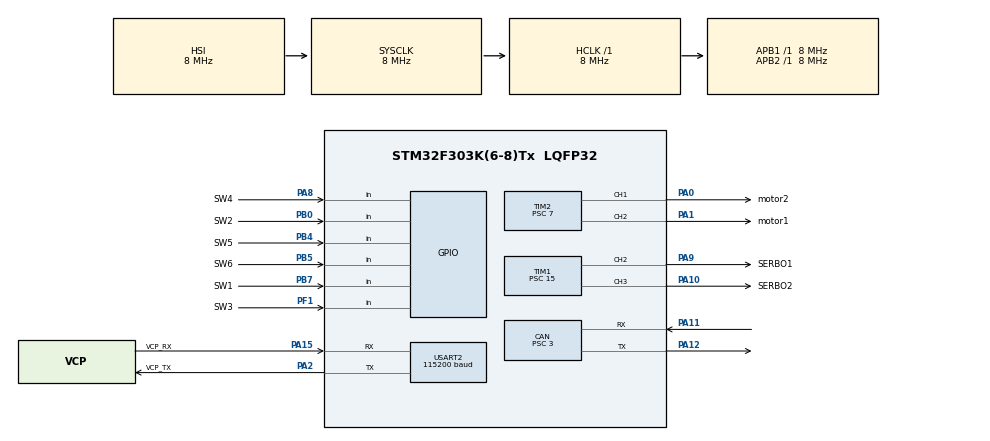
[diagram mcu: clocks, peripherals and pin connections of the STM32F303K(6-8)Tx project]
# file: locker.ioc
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CAN.BS1=CAN_BS1_15TQ
CAN.BS2=CAN_BS2_4TQ
CAN.CalculateBaudRate=133333
CAN.CalculateTimeBit=7500
CAN.CalculateTimeQuantum=375.0
CAN.Prescaler=3
Mcu.Family=STM32F3
Mcu.Name=STM32F303K(6-8)Tx
Mcu.Package=LQFP32
NVIC.CAN_RX0_IRQn=true\:0\:0\:false\:false\:true\:true\:true\:true
NVIC.PriorityGroup=NVIC_PRIORITYGROUP_4
NVIC.TIM6_DAC1_IRQn=true\:1\:0\:true\:false\:true\:true\:true\:true
PA0.GPIO_Label=motor2
PA0.Signal=S_TIM2_CH1_ETR
PA1.GPIO_Label=motor1
PA1.Signal=S_TIM2_CH2
PA10.GPIO_Label=SERBO2
PA10.Signal=S_TIM1_CH3
PA11.Mode=CAN_Activate
PA11.Signal=CAN_RX
PA12.Mode=CAN_Activate
PA12.Signal=CAN_TX
PA13.GPIO_Label=SWDIO
PA13.Mode=Serial_Wire
PA13.Signal=SYS_JTMS-SWDIO
PA14.GPIO_Label=SWCLK
PA14.Mode=Serial_Wire
PA14.Signal=SYS_JTCK-SWCLK
PA15.GPIO_Label=VCP_RX
PA15.Mode=Asynchronous
PA15.Signal=USART2_RX
PA2.GPIO_Label=VCP_TX
PA2.Mode=Asynchronous
PA2.Signal=USART2_TX
PA8.GPIO_Label=SW4
PA8.Signal=GPIO_Input
PA9.GPIO_Label=SERBO1
PA9.Signal=S_TIM1_CH2
PB0.GPIO_Label=SW2
PB0.Signal=GPIO_Input
PB4.GPIO_Label=SW5
PB4.Signal=GPIO_Input
PB5.GPIO_Label=SW6
PB5.Signal=GPIO_Input
PB7.GPIO_Label=SW1
PB7.Signal=GPIO_Input
PF0\ /\ OSC_IN.GPIO_Label=MCO
PF0\ /\ OSC_IN.Mode=HSE-External-Clock-Source
PF0\ /\ OSC_IN.Signal=RCC_OSC_IN
PF1\ /\ OSC_OUT.GPIO_Label=SW3
PF1\ /\ OSC_OUT.Signal=GPIO_Input
ProjectManager.HeapSize=0x200
ProjectManager.StackSize=0x400
ProjectManager.TargetToolchain=STM32CubeIDE
RCC.AHBFreq_Value=8000000
RCC.APB1Freq_Value=8000000
RCC.APB2Freq_Value=8000000
RCC.CortexFreq_Value=8000000
RCC.HSE_VALUE=8000000
RCC.HSI_VALUE=8000000
RCC.SYSCLKFreq_VALUE=8000000
SH.S_TIM1_CH2.0=TIM1_CH2,PWM Generation2 CH2
SH.S_TIM1_CH3.0=TIM1_CH3,PWM Generation3 CH3
SH.S_TIM2_CH1_ETR.0=TIM2_CH1,PWM Generation1 CH1
SH.S_TIM2_CH2.0=TIM2_CH2,PWM Generation2 CH2
TIM1.Channel-PWM\ Generation2\ CH2=TIM_CHANNEL_2
TIM1.Channel-PWM\ Generation3\ CH3=TIM_CHANNEL_3
TIM1.Period=9999
TIM1.Prescaler=15
TIM2.Channel-PWM\ Generation1\ CH1=TIM_CHANNEL_1
TIM2.Channel-PWM\ Generation2\ CH2=TIM_CHANNEL_2
TIM2.Period=999
TIM2.Prescaler=7
TIM6.Period=19
TIM6.Prescaler=7999
USART2.BaudRate=115200
USART2.VirtualMode-Asynchronous=VM_ASYNC
VP_TIM16_VS_ClockSourceINT.Mode=Enable_Timer
VP_TIM6_VS_ClockSourceINT.Mode=Enable_Timer
board=NUCLEO-F303K8

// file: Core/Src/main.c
/* USER CODE BEGIN Header */
/**
  ******************************************************************************
  * @file           : main.c
  * @brief          : Main program body
  ******************************************************************************
  * @attention
  *
  * Copyright (c) 2024 STMicroelectronics.
  * All rights reserved.
  *
  * This software is licensed under terms that can be found in the LICENSE file
  * in the root directory of this software component.
  * If no LICENSE file comes with this software, it is provided AS-IS.
  *
  ******************************************************************************
  */
/* USER CODE END Header */
#include "main.h"

/* USER CODE BEGIN Includes */
#include <stdbool.h>
#include <can.h>
#include <stdio.h>
/* USER CODE END Includes */

/* USER CODE BEGIN PTD */
enum state{
	state_wait,
	state_free,
  state_move_chair,
  state_hold_chair,
  state_move_desk,
  state_catch_desk,
  state_hold_desk,
  state_unknown
};

enum motor_command{
  command_free,
  command_cw,
  command_ccw,
  command_brake
};

typedef struct{
	bool button;
  bool timeout;
}Error;

typedef struct{
  bool free[2];
  bool chair[2];
  bool desk[2];
} Button;
/* USER CODE END PTD */

/* USER CODE BEGIN PD */
#define CHAIR_TIMEOUT_MS 1000
#define DESK_TIMEOUT_MS 3000
#define MOTOR_DUTY 200 //(MAX:999)
/* USER CODE END PD */

CAN_HandleTypeDef hcan;

TIM_HandleTypeDef htim1;
TIM_HandleTypeDef htim2;
TIM_HandleTypeDef htim6;
TIM_HandleTypeDef htim16;

UART_HandleTypeDef huart2;

void SystemClock_Config(void);
static void MX_GPIO_Init(void);
static void MX_USART2_UART_Init(void);
static void MX_TIM1_Init(void);
static void MX_TIM2_Init(void);
static void MX_TIM6_Init(void);
static void MX_TIM16_Init(void);
static void MX_CAN_Init(void);
/* USER CODE BEGIN PFP */

Button getButton(void);
enum state stateCheck(Button, Error*);

/* USER CODE END PFP */

/* USER CODE BEGIN 0 */

bool g_main_loop_flag = false;

void HAL_TIM_PeriodElapsedCallback(TIM_HandleTypeDef *htim)
{
	if(htim == &htim6)
	{
		//mainloop
		if(g_main_loop_flag){
			printf("Control cycle is slow\r\n");
		}
		g_main_loop_flag = true;
		sendCanData();
	}
}

bool isNoError(Error e){
	return (e.button==false) && (e.timeout==false);
}

Button getButton(void){
  Button b;
  b.free[0] = HAL_GPIO_ReadPin(SW1_GPIO_Port, SW1_Pin);
  b.free[1] = HAL_GPIO_ReadPin(SW2_GPIO_Port, SW2_Pin);
  b.chair[0] = HAL_GPIO_ReadPin(SW3_GPIO_Port, SW3_Pin);
  b.chair[1] = HAL_GPIO_ReadPin(SW4_GPIO_Port, SW4_Pin);
  b.desk[0] = HAL_GPIO_ReadPin(SW5_GPIO_Port, SW5_Pin);
  b.desk[1] = HAL_GPIO_ReadPin(SW6_GPIO_Port, SW6_Pin);
  return b;
}

enum state stateCheck(Button sw, Error* e){
  enum state s[3];
  static enum state prev_state = state_unknown;
  for(int i=0;i<=1;i++){
    // desk & free
    if(sw.desk[i] && !sw.free[i] && !sw.chair[i] ){
      s[i] = state_hold_desk;
    }
    // desk
    else if(sw.desk[i] && !sw.free[i] && !sw.chair[i] ){
      s[i] = state_catch_desk;
    }
    // nan
    else if(!sw.desk[i] && !sw.free[i] && !sw.chair[i] ){
      s[i] = state_move_desk;
    }
    // free
    else if(!sw.desk[i] && !sw.free[i] && !sw.chair[i] ){
      s[i] = state_hold_chair;
    }
    // chair
    else if(!sw.desk[i] && !sw.free[i] && sw.chair[i] ){
      s[i] = state_move_chair;
    }
    // free & chair
    else if(!sw.desk[i] && sw.free[i] && sw.chair[i] ){
      s[i] = state_free;
    }
    else {
      s[i] = state_unknown;
      e->button = true;
    }
  }

  // stateの時間確認用タイマー
  uint32_t time = htim16.Instance->CNT;

  //ボタンの左右差の確認
  static size_t start_state_switch_time = 0;
  if(s[0]==s[1]){
    s[2]=s[0];
    start_state_switch_time = time;
  }
  else{
    if(time - start_state_switch_time > 100){
      e->button = true;
    }
  }

  // state のタイムアウト確認
  if(s[2] == state_move_chair && time > CHAIR_TIMEOUT_MS){
    e->timeout = true;
  }
  if(s[2] == state_move_desk && time > DESK_TIMEOUT_MS){
    e->timeout = true;
  }

  // stateのタイマーリセット
  if(s[2] != prev_state){
    htim16.Instance->CNT = 0;
  }
  prev_state = s[2];
  return s[2];
}

/* USER CODE END 0 */

int main(void)
{

  /* USER CODE BEGIN 1 */
	setbuf(stdout, NULL);
  /* USER CODE END 1 */

  /* MCU Configuration--------------------------------------------------------*/

  /* Reset of all peripherals, Initializes the Flash interface and the Systick. */
  HAL_Init();

  /* Configure the system clock */
  SystemClock_Config();

  /* Initialize all configured peripherals */
  MX_GPIO_Init();
  MX_USART2_UART_Init();
  MX_TIM1_Init();
  MX_TIM2_Init();
  MX_TIM6_Init();
  MX_TIM16_Init();
  MX_CAN_Init();
  /* USER CODE BEGIN 2 */
  HAL_Delay(1000);
  enum state state = state_wait;
  Error error = {0};
  canInit(&hcan);
  bool can_wait = true;
  size_t can_timeout_cnt = 0;

  //timerスタート
	HAL_TIM_Base_Start_IT(&htim16);
	HAL_TIM_PWM_Start(&htim1, TIM_CHANNEL_2);
	HAL_TIM_PWM_Start(&htim1, TIM_CHANNEL_3);
	HAL_TIM_PWM_Start(&htim2, TIM_CHANNEL_1);
	HAL_TIM_PWM_Start(&htim2, TIM_CHANNEL_2);
	HAL_TIM_Base_Start_IT(&htim6);
	//HAL_TIM_Base_Start_IT(&htim7);

  /* USER CODE END 2 */

  /* Infinite loop */
  /* USER CODE BEGIN WHILE */
  while (1)
  {
	//mainloop wait
	while(g_main_loop_flag == false){}
    bool servo_lock = false;
    bool servo_mode = false; //0:chair

    //センサーデータ収集
    LockerResult result;
    enum motor_command motor_command = command_free;
    Button button = getButton();
    state = stateCheck(button,&error);
    result.state = state;

    //can送信
    setCanData(&result);

    if (can_wait == true) {
    	if (isCanUpdated()) {
			can_timeout_cnt = 0;
			can_wait = false;
			canInit(&hcan);
		}
    	else{
			printf("can init");
			canInit(&hcan);
    	}
	} else {
			// CAN受信
			CanCommand command;
			if (isCanUpdated() == false){
				can_timeout_cnt++;
			}
			else{
				can_timeout_cnt = 0;
			}
			getCanData(&command);

			if(can_timeout_cnt > 5){
				can_wait = true;
			}
			printf("mode : %d,pull : %d,release : %d,state:%d,sw:%d%d,%d%d,%d%d\r\n",command.mode,command.pull,command.release,state,button.chair[0],button.chair[1],
		    		button.desk[0],button.desk[1],button.free[0],button.free[1]);
			//アーム制御
			//無効なコマンド　（pull&release または 机保持中に椅子保持指令　または、椅子保持中に机保持）
			if (command.pull == command.release
					|| (command.mode == false && state == state_hold_desk)
					|| (command.mode == true && state == state_hold_chair)) {
				motor_command = command_free;
			} else if (command.pull == true) {
				enum state target_state =
						command.mode ? state_catch_desk : state_move_desk;
				if (state != target_state) {
					motor_command = command_cw;
				} else {
					motor_command = command_free;
					servo_lock = true;
				}
			} else if (command.release == true) {
				// 椅子や机を保持している場合は少し引いてからロック解除
				static size_t cnt = 0;
				if (state == state_hold_desk || state == state_hold_chair){
					motor_command = command_cw;
					if(cnt++ < 10) {
						servo_lock = true;
					}
				}else cnt = 0;
				if (state != state_free) {
					motor_command = command_ccw;
				}
			}

			// モーター制御
			switch (motor_command) {
			case command_free:
				__HAL_TIM_SET_COMPARE(&htim2, TIM_CHANNEL_1, 0);
				__HAL_TIM_SET_COMPARE(&htim2, TIM_CHANNEL_2, 0);
				break;
			case command_cw:
				__HAL_TIM_SET_COMPARE(&htim2, TIM_CHANNEL_1, 0);
				__HAL_TIM_SET_COMPARE(&htim2, TIM_CHANNEL_2, MOTOR_DUTY);
				break;
			case command_ccw:
				__HAL_TIM_SET_COMPARE(&htim2, TIM_CHANNEL_1, MOTOR_DUTY);
				__HAL_TIM_SET_COMPARE(&htim2, TIM_CHANNEL_2, 0);
				break;
			case command_brake:
				__HAL_TIM_SET_COMPARE(&htim2, TIM_CHANNEL_1, 999);
				__HAL_TIM_SET_COMPARE(&htim2, TIM_CHANNEL_2, 999);
				break;
			}
			//サーボ制御
			if (servo_lock == true) {
				if (servo_mode == false) {
					__HAL_TIM_SET_COMPARE(&htim1, TIM_CHANNEL_2, 1200);
					__HAL_TIM_SET_COMPARE(&htim1, TIM_CHANNEL_3, 250);
				} else {
					__HAL_TIM_SET_COMPARE(&htim1, TIM_CHANNEL_2, 250);
					__HAL_TIM_SET_COMPARE(&htim1, TIM_CHANNEL_3, 1200);
				}
			}
		}

    g_main_loop_flag = false;
    /* USER CODE END WHILE */

  }
}

void SystemClock_Config(void)
{
  RCC_OscInitTypeDef RCC_OscInitStruct = {0};
  RCC_ClkInitTypeDef RCC_ClkInitStruct = {0};
  RCC_PeriphCLKInitTypeDef PeriphClkInit = {0};

  /** Initializes the RCC Oscillators according to the specified parameters
  * in the RCC_OscInitTypeDef structure.
  */
  RCC_OscInitStruct.OscillatorType = RCC_OSCILLATORTYPE_HSI;
  RCC_OscInitStruct.HSIState = RCC_HSI_ON;
  RCC_OscInitStruct.HSICalibrationValue = RCC_HSICALIBRATION_DEFAULT;
  RCC_OscInitStruct.PLL.PLLState = RCC_PLL_NONE;
  if (HAL_RCC_OscConfig(&RCC_OscInitStruct) != HAL_OK)
  {
    Error_Handler();
  }

  /** Initializes the CPU, AHB and APB buses clocks
  */
  RCC_ClkInitStruct.ClockType = RCC_CLOCKTYPE_HCLK|RCC_CLOCKTYPE_SYSCLK
                              |RCC_CLOCKTYPE_PCLK1|RCC_CLOCKTYPE_PCLK2;
  RCC_ClkInitStruct.SYSCLKSource = RCC_SYSCLKSOURCE_HSI;
  RCC_ClkInitStruct.AHBCLKDivider = RCC_SYSCLK_DIV1;
  RCC_ClkInitStruct.APB1CLKDivider = RCC_HCLK_DIV1;
  RCC_ClkInitStruct.APB2CLKDivider = RCC_HCLK_DIV1;

  if (HAL_RCC_ClockConfig(&RCC_ClkInitStruct, FLASH_LATENCY_0) != HAL_OK)
  {
    Error_Handler();
  }
  PeriphClkInit.PeriphClockSelection = RCC_PERIPHCLK_TIM1;
  PeriphClkInit.Tim1ClockSelection = RCC_TIM1CLK_HCLK;
  if (HAL_RCCEx_PeriphCLKConfig(&PeriphClkInit) != HAL_OK)
  {
    Error_Handler();
  }
}

static void MX_CAN_Init(void)
{

  hcan.Instance = CAN;
  hcan.Init.Prescaler = 3;
  hcan.Init.Mode = CAN_MODE_NORMAL;
  hcan.Init.SyncJumpWidth = CAN_SJW_1TQ;
  hcan.Init.TimeSeg1 = CAN_BS1_15TQ;
  hcan.Init.TimeSeg2 = CAN_BS2_4TQ;
  hcan.Init.TimeTriggeredMode = DISABLE;
  hcan.Init.AutoBusOff = DISABLE;
  hcan.Init.AutoWakeUp = DISABLE;
  hcan.Init.AutoRetransmission = DISABLE;
  hcan.Init.ReceiveFifoLocked = DISABLE;
  hcan.Init.TransmitFifoPriority = DISABLE;
  if (HAL_CAN_Init(&hcan) != HAL_OK)
  {
    Error_Handler();
  }

}

static void MX_TIM1_Init(void)
{

  TIM_MasterConfigTypeDef sMasterConfig = {0};
  TIM_OC_InitTypeDef sConfigOC = {0};
  TIM_BreakDeadTimeConfigTypeDef sBreakDeadTimeConfig = {0};

  htim1.Instance = TIM1;
  htim1.Init.Prescaler = 15;
  htim1.Init.CounterMode = TIM_COUNTERMODE_UP;
  htim1.Init.Period = 9999;
  htim1.Init.ClockDivision = TIM_CLOCKDIVISION_DIV1;
  htim1.Init.RepetitionCounter = 0;
  htim1.Init.AutoReloadPreload = TIM_AUTORELOAD_PRELOAD_DISABLE;
  if (HAL_TIM_PWM_Init(&htim1) != HAL_OK)
  {
    Error_Handler();
  }
  sMasterConfig.MasterOutputTrigger = TIM_TRGO_RESET;
  sMasterConfig.MasterOutputTrigger2 = TIM_TRGO2_RESET;
  sMasterConfig.MasterSlaveMode = TIM_MASTERSLAVEMODE_DISABLE;
  if (HAL_TIMEx_MasterConfigSynchronization(&htim1, &sMasterConfig) != HAL_OK)
  {
    Error_Handler();
  }
  sConfigOC.OCMode = TIM_OCMODE_PWM1;
  sConfigOC.Pulse = 0;
  sConfigOC.OCPolarity = TIM_OCPOLARITY_HIGH;
  sConfigOC.OCNPolarity = TIM_OCNPOLARITY_HIGH;
  sConfigOC.OCFastMode = TIM_OCFAST_DISABLE;
  sConfigOC.OCIdleState = TIM_OCIDLESTATE_RESET;
  sConfigOC.OCNIdleState = TIM_OCNIDLESTATE_RESET;
  if (HAL_TIM_PWM_ConfigChannel(&htim1, &sConfigOC, TIM_CHANNEL_2) != HAL_OK)
  {
    Error_Handler();
  }
  if (HAL_TIM_PWM_ConfigChannel(&htim1, &sConfigOC, TIM_CHANNEL_3) != HAL_OK)
  {
    Error_Handler();
  }
  sBreakDeadTimeConfig.OffStateRunMode = TIM_OSSR_DISABLE;
  sBreakDeadTimeConfig.OffStateIDLEMode = TIM_OSSI_DISABLE;
  sBreakDeadTimeConfig.LockLevel = TIM_LOCKLEVEL_OFF;
  sBreakDeadTimeConfig.DeadTime = 0;
  sBreakDeadTimeConfig.BreakState = TIM_BREAK_DISABLE;
  sBreakDeadTimeConfig.BreakPolarity = TIM_BREAKPOLARITY_HIGH;
  sBreakDeadTimeConfig.BreakFilter = 0;
  sBreakDeadTimeConfig.Break2State = TIM_BREAK2_DISABLE;
  sBreakDeadTimeConfig.Break2Polarity = TIM_BREAK2POLARITY_HIGH;
  sBreakDeadTimeConfig.Break2Filter = 0;
  sBreakDeadTimeConfig.AutomaticOutput = TIM_AUTOMATICOUTPUT_DISABLE;
  if (HAL_TIMEx_ConfigBreakDeadTime(&htim1, &sBreakDeadTimeConfig) != HAL_OK)
  {
    Error_Handler();
  }
  HAL_TIM_MspPostInit(&htim1);

}

static void MX_TIM2_Init(void)
{

  TIM_MasterConfigTypeDef sMasterConfig = {0};
  TIM_OC_InitTypeDef sConfigOC = {0};

  htim2.Instance = TIM2;
  htim2.Init.Prescaler = 7;
  htim2.Init.CounterMode = TIM_COUNTERMODE_UP;
  htim2.Init.Period = 999;
  htim2.Init.ClockDivision = TIM_CLOCKDIVISION_DIV1;
  htim2.Init.AutoReloadPreload = TIM_AUTORELOAD_PRELOAD_DISABLE;
  if (HAL_TIM_PWM_Init(&htim2) != HAL_OK)
  {
    Error_Handler();
  }
  sMasterConfig.MasterOutputTrigger = TIM_TRGO_RESET;
  sMasterConfig.MasterSlaveMode = TIM_MASTERSLAVEMODE_DISABLE;
  if (HAL_TIMEx_MasterConfigSynchronization(&htim2, &sMasterConfig) != HAL_OK)
  {
    Error_Handler();
  }
  sConfigOC.OCMode = TIM_OCMODE_PWM1;
  sConfigOC.Pulse = 0;
  sConfigOC.OCPolarity = TIM_OCPOLARITY_HIGH;
  sConfigOC.OCFastMode = TIM_OCFAST_DISABLE;
  if (HAL_TIM_PWM_ConfigChannel(&htim2, &sConfigOC, TIM_CHANNEL_1) != HAL_OK)
  {
    Error_Handler();
  }
  if (HAL_TIM_PWM_ConfigChannel(&htim2, &sConfigOC, TIM_CHANNEL_2) != HAL_OK)
  {
    Error_Handler();
  }
  HAL_TIM_MspPostInit(&htim2);

}

static void MX_TIM6_Init(void)
{

  TIM_MasterConfigTypeDef sMasterConfig = {0};

  htim6.Instance = TIM6;
  htim6.Init.Prescaler = 7999;
  htim6.Init.CounterMode = TIM_COUNTERMODE_UP;
  htim6.Init.Period = 19;
  htim6.Init.AutoReloadPreload = TIM_AUTORELOAD_PRELOAD_DISABLE;
  if (HAL_TIM_Base_Init(&htim6) != HAL_OK)
  {
    Error_Handler();
  }
  sMasterConfig.MasterOutputTrigger = TIM_TRGO_RESET;
  sMasterConfig.MasterSlaveMode = TIM_MASTERSLAVEMODE_DISABLE;
  if (HAL_TIMEx_MasterConfigSynchronization(&htim6, &sMasterConfig) != HAL_OK)
  {
    Error_Handler();
  }

}

static void MX_TIM16_Init(void)
{

  htim16.Instance = TIM16;
  htim16.Init.Prescaler = 0;
  htim16.Init.CounterMode = TIM_COUNTERMODE_UP;
  htim16.Init.Period = 65535;
  htim16.Init.ClockDivision = TIM_CLOCKDIVISION_DIV1;
  htim16.Init.RepetitionCounter = 0;
  htim16.Init.AutoReloadPreload = TIM_AUTORELOAD_PRELOAD_DISABLE;
  if (HAL_TIM_Base_Init(&htim16) != HAL_OK)
  {
    Error_Handler();
  }

}

static void MX_USART2_UART_Init(void)
{

  huart2.Instance = USART2;
  huart2.Init.BaudRate = 115200;
  huart2.Init.WordLength = UART_WORDLENGTH_8B;
  huart2.Init.StopBits = UART_STOPBITS_1;
  huart2.Init.Parity = UART_PARITY_NONE;
  huart2.Init.Mode = UART_MODE_TX_RX;
  huart2.Init.HwFlowCtl = UART_HWCONTROL_NONE;
  huart2.Init.OverSampling = UART_OVERSAMPLING_16;
  huart2.Init.OneBitSampling = UART_ONE_BIT_SAMPLE_DISABLE;
  huart2.AdvancedInit.AdvFeatureInit = UART_ADVFEATURE_NO_INIT;
  if (HAL_UART_Init(&huart2) != HAL_OK)
  {
    Error_Handler();
  }

}

static void MX_GPIO_Init(void)
{
  GPIO_InitTypeDef GPIO_InitStruct = {0};

  /* GPIO Ports Clock Enable */
  __HAL_RCC_GPIOF_CLK_ENABLE();
  __HAL_RCC_GPIOA_CLK_ENABLE();
  __HAL_RCC_GPIOB_CLK_ENABLE();

  /*Configure GPIO pin : SW3_Pin */
  GPIO_InitStruct.Pin = SW3_Pin;
  GPIO_InitStruct.Mode = GPIO_MODE_INPUT;
  GPIO_InitStruct.Pull = GPIO_NOPULL;
  HAL_GPIO_Init(SW3_GPIO_Port, &GPIO_InitStruct);

  /*Configure GPIO pins : SW2_Pin SW5_Pin SW6_Pin SW1_Pin */
  GPIO_InitStruct.Pin = SW2_Pin|SW5_Pin|SW6_Pin|SW1_Pin;
  GPIO_InitStruct.Mode = GPIO_MODE_INPUT;
  GPIO_InitStruct.Pull = GPIO_NOPULL;
  HAL_GPIO_Init(GPIOB, &GPIO_InitStruct);

  /*Configure GPIO pin : SW4_Pin */
  GPIO_InitStruct.Pin = SW4_Pin;
  GPIO_InitStruct.Mode = GPIO_MODE_INPUT;
  GPIO_InitStruct.Pull = GPIO_NOPULL;
  HAL_GPIO_Init(SW4_GPIO_Port, &GPIO_InitStruct);

}

/* USER CODE BEGIN 4 */
int _write(int file, char *ptr, int len)
{
  HAL_UART_Transmit(&huart2,(uint8_t *)ptr,len,10);
  return len;
}
/* USER CODE END 4 */

void Error_Handler(void)
{
  __disable_irq();
  while (1)
  {
  }
}
